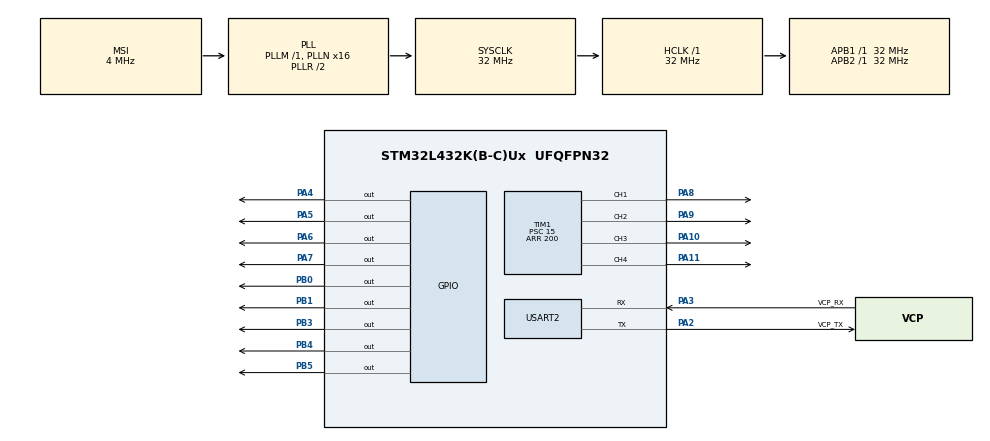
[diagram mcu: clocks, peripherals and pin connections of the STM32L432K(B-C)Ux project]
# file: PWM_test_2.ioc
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Mcu.Family=STM32L4
Mcu.Name=STM32L432K(B-C)Ux
Mcu.Package=UFQFPN32
NVIC.PriorityGroup=NVIC_PRIORITYGROUP_4
NVIC.USART2_IRQn=true\:0\:0\:false\:false\:true\:true
PA0.GPIO_Label=MCO [High speed clock in]
PA0.Mode=HSE-External-Clock-Source-for-LittleOrca
PA0.Signal=RCC_CK_IN
PA10.Signal=S_TIM1_CH3
PA11.Signal=S_TIM1_CH4
PA13\ (JTMS-SWDIO).GPIO_Label=SWDIO
PA13\ (JTMS-SWDIO).Mode=Serial_Wire
PA13\ (JTMS-SWDIO).Signal=SYS_JTMS-SWDIO
PA14\ (JTCK-SWCLK).GPIO_Label=SWCLK
PA14\ (JTCK-SWCLK).Mode=Serial_Wire
PA14\ (JTCK-SWCLK).Signal=SYS_JTCK-SWCLK
PA2.GPIO_Label=VCP_TX
PA2.Mode=Asynchronous
PA2.Signal=USART2_TX
PA3.GPIO_Label=VCP_RX
PA3.Mode=Asynchronous
PA3.Signal=USART2_RX
PA4.Signal=GPIO_Output
PA5.Signal=GPIO_Output
PA6.Signal=GPIO_Output
PA7.Signal=GPIO_Output
PA8.Signal=S_TIM1_CH1
PA9.Signal=S_TIM1_CH2
PB0.Signal=GPIO_Output
PB1.Signal=GPIO_Output
PB3\ (JTDO-TRACESWO).Signal=GPIO_Output
PB4\ (NJTRST).Signal=GPIO_Output
PB5.Signal=GPIO_Output
PC14-OSC32_IN\ (PC14).Mode=LSE-External-Oscillator
PC14-OSC32_IN\ (PC14).Signal=RCC_OSC32_IN
PC15-OSC32_OUT\ (PC15).Mode=LSE-External-Oscillator
PC15-OSC32_OUT\ (PC15).Signal=RCC_OSC32_OUT
ProjectManager.HeapSize=0x200
ProjectManager.StackSize=0x400
ProjectManager.TargetToolchain=SW4STM32
RCC.AHBFreq_Value=32000000
RCC.APB1Freq_Value=32000000
RCC.APB1TimFreq_Value=32000000
RCC.APB2Freq_Value=32000000
RCC.APB2TimFreq_Value=32000000
RCC.CortexFreq_Value=32000000
RCC.HCLKFreq_Value=32000000
RCC.HSE_VALUE=8000000
RCC.HSI16_VALUE=16000000
RCC.HSI48_VALUE=48000000
RCC.HSI_VALUE=16000000
RCC.MSI_VALUE=4000000
RCC.PLLMUL=RCC_PLLMUL_4
RCC.PLLN=16
RCC.SYSCLKFreq_VALUE=32000000
RCC.SYSCLKSource=RCC_SYSCLKSOURCE_PLLCLK
RCC.VCOOutputFreq_Value=64000000
SH.S_TIM1_CH1.0=TIM1_CH1,PWM Generation1 CH1
SH.S_TIM1_CH2.0=TIM1_CH2,PWM Generation2 CH2
SH.S_TIM1_CH3.0=TIM1_CH3,PWM Generation3 CH3
SH.S_TIM1_CH4.0=TIM1_CH4,PWM Generation4 CH4
TIM1.AutoReloadPreload=TIM_AUTORELOAD_PRELOAD_ENABLE
TIM1.Channel-PWM\ Generation1\ CH1=TIM_CHANNEL_1
TIM1.Channel-PWM\ Generation2\ CH2=TIM_CHANNEL_2
TIM1.Channel-PWM\ Generation3\ CH3=TIM_CHANNEL_3
TIM1.Channel-PWM\ Generation4\ CH4=TIM_CHANNEL_4
TIM1.Period=200
TIM1.Prescaler=15
TIM1.Pulse-PWM\ Generation1\ CH1=20
USART2.VirtualMode-Asynchronous=VM_ASYNC
board=NUCLEO-L432KC

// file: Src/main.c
/**
  ******************************************************************************
  * @file           : main.c
  * @brief          : Main program body
  ******************************************************************************
  ** This notice applies to any and all portions of this file
  * that are not between comment pairs USER CODE BEGIN and
  * USER CODE END. Other portions of this file, whether
  * inserted by the user or by software development tools
  * are owned by their respective copyright owners.
  *
  * COPYRIGHT(c) 2019 STMicroelectronics
  *
  * Redistribution and use in source and binary forms, with or without modification,
  * are permitted provided that the following conditions are met:
  *   1. Redistributions of source code must retain the above copyright notice,
  *      this list of conditions and the following disclaimer.
  *   2. Redistributions in binary form must reproduce the above copyright notice,
  *      this list of conditions and the following disclaimer in the documentation
  *      and/or other materials provided with the distribution.
  *   3. Neither the name of STMicroelectronics nor the names of its contributors
  *      may be used to endorse or promote products derived from this software
  *      without specific prior written permission.
  *
  * THIS SOFTWARE IS PROVIDED BY THE COPYRIGHT HOLDERS AND CONTRIBUTORS "AS IS"
  * AND ANY EXPRESS OR IMPLIED WARRANTIES, INCLUDING, BUT NOT LIMITED TO, THE
  * IMPLIED WARRANTIES OF MERCHANTABILITY AND FITNESS FOR A PARTICULAR PURPOSE ARE
  * DISCLAIMED. IN NO EVENT SHALL THE COPYRIGHT HOLDER OR CONTRIBUTORS BE LIABLE
  * FOR ANY DIRECT, INDIRECT, INCIDENTAL, SPECIAL, EXEMPLARY, OR CONSEQUENTIAL
  * DAMAGES (INCLUDING, BUT NOT LIMITED TO, PROCUREMENT OF SUBSTITUTE GOODS OR
  * SERVICES; LOSS OF USE, DATA, OR PROFITS; OR BUSINESS INTERRUPTION) HOWEVER
  * CAUSED AND ON ANY THEORY OF LIABILITY, WHETHER IN CONTRACT, STRICT LIABILITY,
  * OR TORT (INCLUDING NEGLIGENCE OR OTHERWISE) ARISING IN ANY WAY OUT OF THE USE
  * OF THIS SOFTWARE, EVEN IF ADVISED OF THE POSSIBILITY OF SUCH DAMAGE.
  *
  ******************************************************************************
  */
#include "main.h"
#include "stm32l4xx_hal.h"
#include "tim.h"
#include "usart.h"
#include "gpio.h"

/* USER CODE BEGIN Includes */
#include "Dynamixel_Data.h"
#include "AX12A.h"
#include "MX28.h"
#include "Dynamixel_Types.h"
#include "DynamixelProtocolV1_IO.h"
#include "DynamixelProtocolV1.h"
/* USER CODE END Includes */

/* USER CODE BEGIN PV */
#define		WHEEL_DIAMETER   0.1
#define		SPEED 			 1 //rps

enum motor_direction {
    MOTOR_STOP = 0, MOTOR_CLOCKWISE = 1, MOTOR_COUNTERCLOCKWISE = 2
};

uint8_t rx_buf[3];
//rx_buf2 = 0, rx_buf3 = 0;

uint8_t x_case = 0; //0-stop, 1-0.1m/s, 2-0.2m/s, 3-0.3m/s
uint8_t y_case = 0;
uint8_t w_case = 0;

uint8_t w_dir, x_dir, y_dir;
float x_vel;
float y_vel;

uint32_t pwm_value_w = 0;
uint32_t pwm_value_1 = 0;
uint32_t pwm_value_2 = 0;

uint8_t motor1_dir = 0;
uint8_t motor2_dir = 0;
uint8_t motor3_dir = 0;
uint8_t motor4_dir = 0;
uint8_t isStop = 0;

double joint1_angle;
double joint2_angle;

uint8_t joint1_id = 10;
uint8_t joint2_id = 16;

HAL_StatusTypeDef status_b1, status_b2, status_b3;
/* Private variables ---------------------------------------------------------*/
/* USER CODE END PV */

void SystemClock_Config(void);

/* USER CODE BEGIN PFP */
/* Private function prototypes -----------------------------------------------*/
void extractW(uint8_t rx_buf_1);
void extractX(uint8_t rx_buf_1);
void extractY(uint8_t rx_buf_1);

double extractAngle(uint8_t rx_buf);
void joint_horizontal_control(double angle, uint8_t joint_id);
void joint_vertical_control(double angle, uint8_t joint_id);

int convertToInt(char *rx);
//uint32_t get_pwm(float vel);

void driveMotor(uint16_t pwm_value, uint8_t motor_num, uint16_t dir);
void setMotor1Dir();
void setMotor2Dir();
void setMotor3Dir();
void setMotor4Dir();

void move_to_pos();

Dynamixel_HandleTypeDef motorAX_hor;
Dynamixel_HandleTypeDef motorAX_vert;

/* USER CODE END PFP */

int main(void)
{

  /* MCU Configuration----------------------------------------------------------*/

  /* Reset of all peripherals, Initializes the Flash interface and the Systick. */
  HAL_Init();

  /* Configure the system clock */
  SystemClock_Config();

  /* Initialize all configured peripherals */
  MX_GPIO_Init();
  MX_USART2_UART_Init();
  MX_TIM1_Init();

  /* Infinite loop */
  /* USER CODE BEGIN WHILE */
    while (1) {
        int prev = 0;

        do {
            /* while huart2 does not receive commands, in other words
             * while status_b1 is NOT HAL_OK, stay in this DO loop to
             * set motor directions and actuate them(PWM)
             */
            status_b1 = HAL_UART_Receive(&huart2, rx_buf, 3*sizeof(uint8_t), 10);
            //status_b2 = HAL_UART_Receive(&huart2, &rx_buf2, sizeof(uint8_t), 10);
            //status_b3 = HAL_UART_Receive(&huart2, &rx_buf3, sizeof(uint8_t), 10);

            setMotor1Dir();
            setMotor2Dir();
            setMotor3Dir();
            setMotor4Dir();

            if (prev == 0) { //only start pwm when it has been stopped
                HAL_TIM_PWM_Start(&htim1, TIM_CHANNEL_1);
                HAL_TIM_PWM_Start(&htim1, TIM_CHANNEL_2);
                HAL_TIM_PWM_Start(&htim1, TIM_CHANNEL_3);
                HAL_TIM_PWM_Start(&htim1, TIM_CHANNEL_4);
                prev = 1;
            }
        } while (status_b1 != HAL_OK);

        status_b1 = HAL_ERROR; //reset
        status_b2 = HAL_ERROR; //reset
        status_b3 = HAL_ERROR; //reset

        HAL_TIM_PWM_Stop(&htim1, TIM_CHANNEL_1);
        HAL_TIM_PWM_Stop(&htim1, TIM_CHANNEL_2);
        HAL_TIM_PWM_Stop(&htim1, TIM_CHANNEL_3);
        HAL_TIM_PWM_Stop(&htim1, TIM_CHANNEL_4);

        /* 1. Received all pwm inputs from PC. Once outside the do-while loop,
         * the global variable rx_buf has been updated from the PC command  */

        /* 2. Convert the character in the buffer to floats/integers */
        /* Assumed: at max speed, the wheel is turning 1 rev/sec => 6.28*0.05*/
        // Global variables including x_dir, w_dir, y_dir, and pwm's are updated
        extractW(rx_buf[0]);
        extractX(rx_buf[0]);
        extractY(rx_buf[0]);

        /* 3. With the updated globals, set the appropriate speeds(PWM) for
         * all motors using SET_COMPARE function*/
        move_to_pos();

        /*extract second byte*/
        MX_USART2_UART_Init_X(1000000);
        joint1_angle = extractAngle(rx_buf[1]);
        joint_horizontal_control(joint1_angle, joint1_id);

        /*extract third byte*/
        joint2_angle = extractAngle(rx_buf[2]);
        joint_vertical_control(joint2_angle, joint2_id);

        MX_USART2_UART_Init_X(115200);

  /* USER CODE END WHILE */

  /* USER CODE BEGIN 3 */
        //HAL_UART_Transmit(&huart2, rx_buf, 3, 10);
        //HAL_UART_Transmit(&huart2, (unsigned char *) "done", 4, 1000);
        // HAL_Delay(100);
    }

  /* USER CODE END 3 */

}

void SystemClock_Config(void)
{

  RCC_OscInitTypeDef RCC_OscInitStruct;
  RCC_ClkInitTypeDef RCC_ClkInitStruct;
  RCC_PeriphCLKInitTypeDef PeriphClkInit;

    /**Configure LSE Drive Capability
    */
  HAL_PWR_EnableBkUpAccess();

  __HAL_RCC_LSEDRIVE_CONFIG(RCC_LSEDRIVE_LOW);

    /**Initializes the CPU, AHB and APB busses clocks
    */
  RCC_OscInitStruct.OscillatorType = RCC_OSCILLATORTYPE_LSE|RCC_OSCILLATORTYPE_MSI;
  RCC_OscInitStruct.LSEState = RCC_LSE_ON;
  RCC_OscInitStruct.MSIState = RCC_MSI_ON;
  RCC_OscInitStruct.MSICalibrationValue = 0;
  RCC_OscInitStruct.MSIClockRange = RCC_MSIRANGE_6;
  RCC_OscInitStruct.PLL.PLLState = RCC_PLL_ON;
  RCC_OscInitStruct.PLL.PLLSource = RCC_PLLSOURCE_MSI;
  RCC_OscInitStruct.PLL.PLLM = 1;
  RCC_OscInitStruct.PLL.PLLN = 16;
  RCC_OscInitStruct.PLL.PLLP = RCC_PLLP_DIV7;
  RCC_OscInitStruct.PLL.PLLQ = RCC_PLLQ_DIV2;
  RCC_OscInitStruct.PLL.PLLR = RCC_PLLR_DIV2;
  if (HAL_RCC_OscConfig(&RCC_OscInitStruct) != HAL_OK)
  {
    _Error_Handler(__FILE__, __LINE__);
  }

    /**Initializes the CPU, AHB and APB busses clocks
    */
  RCC_ClkInitStruct.ClockType = RCC_CLOCKTYPE_HCLK|RCC_CLOCKTYPE_SYSCLK
                              |RCC_CLOCKTYPE_PCLK1|RCC_CLOCKTYPE_PCLK2;
  RCC_ClkInitStruct.SYSCLKSource = RCC_SYSCLKSOURCE_PLLCLK;
  RCC_ClkInitStruct.AHBCLKDivider = RCC_SYSCLK_DIV1;
  RCC_ClkInitStruct.APB1CLKDivider = RCC_HCLK_DIV1;
  RCC_ClkInitStruct.APB2CLKDivider = RCC_HCLK_DIV1;

  if (HAL_RCC_ClockConfig(&RCC_ClkInitStruct, FLASH_LATENCY_1) != HAL_OK)
  {
    _Error_Handler(__FILE__, __LINE__);
  }

  PeriphClkInit.PeriphClockSelection = RCC_PERIPHCLK_USART2;
  PeriphClkInit.Usart2ClockSelection = RCC_USART2CLKSOURCE_PCLK1;
  if (HAL_RCCEx_PeriphCLKConfig(&PeriphClkInit) != HAL_OK)
  {
    _Error_Handler(__FILE__, __LINE__);
  }

    /**Configure the main internal regulator output voltage
    */
  if (HAL_PWREx_ControlVoltageScaling(PWR_REGULATOR_VOLTAGE_SCALE1) != HAL_OK)
  {
    _Error_Handler(__FILE__, __LINE__);
  }

    /**Configure the Systick interrupt time
    */
  HAL_SYSTICK_Config(HAL_RCC_GetHCLKFreq()/1000);

    /**Configure the Systick
    */
  HAL_SYSTICK_CLKSourceConfig(SYSTICK_CLKSOURCE_HCLK);

    /**Enable MSI Auto calibration
    */
  HAL_RCCEx_EnableMSIPLLMode();

  /* SysTick_IRQn interrupt configuration */
  HAL_NVIC_SetPriority(SysTick_IRQn, 0, 0);
}

/* USER CODE BEGIN 4 */
void extractW(uint8_t rx_buf) {
    //SIGN 1/0 _ _ _ _ _ _
    //updates 0b_ _ , first element being 1(CW) or 0(CCW), and second element being 1(turn) or 0(stop)
    uint8_t w_case = rx_buf >> 6;
    switch (w_case) {
    case 1: //0b01: CCW, rotate
        w_dir = 2;
        pwm_value_w = 150;
        break;
    case 3: //0b11: CW, rotate
        w_dir = 1;
        pwm_value_w = 150;
        break;
    default:
        w_dir = 0;
        pwm_value_w = 0;
        break;
    }
}

void extractX(uint8_t rx_buf) {
    //_ _ SIGN X1 X2 _ _ _
    //updates 0b_ _ _,first element being 1(CW) or 0(CCW), and second/third element being the
    uint8_t x_case = (rx_buf >> 3) & 0b00000111;
    switch (x_case) {
    case 1: //0b001: -dir, 0.1m/s
        x_dir = 2;
        pwm_value_1 = 130;
        break;
    case 2: //0b010: -dir, 0.2m/s
        x_dir = 2;
        pwm_value_1 = 160;
        break;
    case 3: //0b011: -dir, 0.3m/s
        x_dir = 2;
        pwm_value_1 = 200;
        break;
    case 5: //0b101: +dir, 0.1m/s
        x_dir = 1;
        pwm_value_1 = 130;
        break;
    case 6: //0b110: +dir, 0.2m/s
        x_dir = 1;
        pwm_value_1 = 160;
        break;
    case 7: //0b111: +dir, 0.3m/s
        x_dir = 1;
        pwm_value_1 = 200;
        break;
    default:
        pwm_value_1 = 0;
        x_dir = 0;
        break;
    }
}

void extractY(uint8_t rx_buf) {
    //_ _ _ _ _ SIGN Y1 Y2
    uint8_t y_case = rx_buf & 0b00000111;
    switch (y_case) {
    case 1: //0b001: -dir, 0.1m/s
        y_dir = 2;
        pwm_value_2 = 130;
        break;
    case 2: //0b010: -dir, 0.2m/s
        y_dir = 2;
        pwm_value_2 = 160;
        break;
    case 3: //0b011: -dir, 0.3m/s
        y_dir = 2;
        pwm_value_2 = 200;
        break;
    case 5: //0b101: +dir, 0.1m/s
        y_dir = 1;
        pwm_value_2 = 130;
        break;
    case 6: //0b110: +dir, 0.2m/s
        y_dir = 1;
        pwm_value_2 = 160;
        break;
    case 7: //0b111: +dir, 0.3m/s
        y_dir = 1;
        pwm_value_2 = 200;
        break;
    default:
        y_dir = 0;
        pwm_value_2 = 0;
        break;
    }
}

int convertToInt(char *rx) {
    uint8_t hund = rx[0] - '0';
    uint8_t ten = rx[1] - '0';
    uint8_t one = rx[2] - '0';
    int res = hund * 100 + ten * 10 + one;
    return res;
}

/*uint32_t get_pwm(float vel) {
 float abs_vel = vel;
 if (vel < 0) {
 abs_vel = -vel;
 }

 float rps = abs_vel / (WHEEL_DIAMETER * 3.1416);
 uint32_t pwm_value = 130 + (rps / SPEED) * 70;
 return pwm_value;
 }*/

void move_to_pos() {
    if (w_dir == 1) { //CW
        driveMotor(pwm_value_w, 1, MOTOR_COUNTERCLOCKWISE);
        driveMotor(pwm_value_w, 2, MOTOR_COUNTERCLOCKWISE);
        driveMotor(pwm_value_w, 3, MOTOR_COUNTERCLOCKWISE);
        driveMotor(pwm_value_w, 4, MOTOR_COUNTERCLOCKWISE);
    } else if (w_dir == 2) { //CCW
        driveMotor(pwm_value_w, 1, MOTOR_CLOCKWISE);
        driveMotor(pwm_value_w, 2, MOTOR_CLOCKWISE);
        driveMotor(pwm_value_w, 3, MOTOR_CLOCKWISE);
        driveMotor(pwm_value_w, 4, MOTOR_CLOCKWISE);
    } else if (y_dir == 1) {
        driveMotor(pwm_value_2, 1, MOTOR_STOP);
        driveMotor(pwm_value_2, 2, MOTOR_COUNTERCLOCKWISE);
        driveMotor(pwm_value_2, 3, MOTOR_STOP);
        driveMotor(pwm_value_2, 4, MOTOR_CLOCKWISE);
    } else if (y_dir == 2) {
        driveMotor(pwm_value_2, 1, MOTOR_STOP);
        driveMotor(pwm_value_2, 2, MOTOR_CLOCKWISE);
        driveMotor(pwm_value_2, 3, MOTOR_STOP);
        driveMotor(pwm_value_2, 4, MOTOR_COUNTERCLOCKWISE);
    } else if (x_dir == 1) {
        driveMotor(pwm_value_1, 1, MOTOR_COUNTERCLOCKWISE);
        driveMotor(pwm_value_1, 2, MOTOR_STOP);
        driveMotor(pwm_value_1, 3, MOTOR_CLOCKWISE);
        driveMotor(pwm_value_1, 4, MOTOR_STOP);
    } else if (x_dir == 2) {
        driveMotor(pwm_value_1, 1, MOTOR_CLOCKWISE);
        driveMotor(pwm_value_1, 2, MOTOR_STOP);
        driveMotor(pwm_value_1, 3, MOTOR_COUNTERCLOCKWISE);
        driveMotor(pwm_value_1, 4, MOTOR_STOP);
    }
    else {
        driveMotor(pwm_value_w, 1, MOTOR_STOP);
        driveMotor(pwm_value_w, 2, MOTOR_STOP);
        driveMotor(pwm_value_w, 3, MOTOR_STOP);
        driveMotor(pwm_value_w, 4, MOTOR_STOP);
    }
    return;
}

/* setMotor1Dir() takes in the global variable motor1_dir
 * to set or reset two specific output pins to control
 * the direction of motor 1*/
void setMotor1Dir() {
    switch (motor1_dir) {
    case MOTOR_CLOCKWISE:
        HAL_GPIO_WritePin(GPIOB, GPIO_PIN_1, GPIO_PIN_SET);
        HAL_GPIO_WritePin(GPIOB, GPIO_PIN_0, GPIO_PIN_RESET);
        break;
    case MOTOR_COUNTERCLOCKWISE:
        HAL_GPIO_WritePin(GPIOB, GPIO_PIN_1, GPIO_PIN_RESET);
        HAL_GPIO_WritePin(GPIOB, GPIO_PIN_0, GPIO_PIN_SET);
        break;
    case MOTOR_STOP:
        HAL_GPIO_WritePin(GPIOB, GPIO_PIN_1, GPIO_PIN_RESET);
        HAL_GPIO_WritePin(GPIOB, GPIO_PIN_0, GPIO_PIN_RESET);
        break;
    default:
        break;
    }
}

void setMotor2Dir() {
    switch (motor2_dir) {
    case MOTOR_CLOCKWISE:
        HAL_GPIO_WritePin(GPIOA, GPIO_PIN_7, GPIO_PIN_SET);
        HAL_GPIO_WritePin(GPIOA, GPIO_PIN_6, GPIO_PIN_RESET);
        break;
    case MOTOR_COUNTERCLOCKWISE:
        HAL_GPIO_WritePin(GPIOA, GPIO_PIN_7, GPIO_PIN_RESET);
        HAL_GPIO_WritePin(GPIOA, GPIO_PIN_6, GPIO_PIN_SET);
        break;
    case MOTOR_STOP:
        HAL_GPIO_WritePin(GPIOA, GPIO_PIN_7, GPIO_PIN_RESET);
        HAL_GPIO_WritePin(GPIOA, GPIO_PIN_6, GPIO_PIN_RESET);
        break;
    default:
        break;
    }
}

void setMotor3Dir() {
    switch (motor3_dir) {
    case MOTOR_CLOCKWISE:
        HAL_GPIO_WritePin(GPIOA, GPIO_PIN_4, GPIO_PIN_SET);
        HAL_GPIO_WritePin(GPIOA, GPIO_PIN_5, GPIO_PIN_RESET);
        break;
    case MOTOR_COUNTERCLOCKWISE:
        HAL_GPIO_WritePin(GPIOA, GPIO_PIN_4, GPIO_PIN_RESET);
        HAL_GPIO_WritePin(GPIOA, GPIO_PIN_5, GPIO_PIN_SET);
        break;
    case MOTOR_STOP:
        HAL_GPIO_WritePin(GPIOA, GPIO_PIN_4, GPIO_PIN_RESET);
        HAL_GPIO_WritePin(GPIOA, GPIO_PIN_5, GPIO_PIN_RESET);
    }
}

void setMotor4Dir() {
    switch (motor4_dir) {
    case MOTOR_CLOCKWISE:
        HAL_GPIO_WritePin(GPIOB, GPIO_PIN_5, GPIO_PIN_SET);
        HAL_GPIO_WritePin(GPIOB, GPIO_PIN_4, GPIO_PIN_RESET);
        break;
    case MOTOR_COUNTERCLOCKWISE:
        HAL_GPIO_WritePin(GPIOB, GPIO_PIN_5, GPIO_PIN_RESET);
        HAL_GPIO_WritePin(GPIOB, GPIO_PIN_4, GPIO_PIN_SET);
        break;
    case MOTOR_STOP:
        HAL_GPIO_WritePin(GPIOB, GPIO_PIN_5, GPIO_PIN_RESET);
        HAL_GPIO_WritePin(GPIOB, GPIO_PIN_4, GPIO_PIN_RESET);
        break;
    default:
        break;
    }
}

void driveMotor(uint16_t pwm_value, uint8_t motor_num, uint16_t dir) {
//Set PWM values and Motor Directions
    switch (motor_num) {
    case 1:
        motor1_dir = dir;
        __HAL_TIM_SetCompare(&htim1, TIM_CHANNEL_1, pwm_value);
        break;
    case 2:
        motor2_dir = dir;
        __HAL_TIM_SetCompare(&htim1, TIM_CHANNEL_2, pwm_value);
        break;
    case 3:
        motor3_dir = dir;
        __HAL_TIM_SetCompare(&htim1, TIM_CHANNEL_3, pwm_value);
        break;
    case 4:
        motor4_dir = dir;
        __HAL_TIM_SetCompare(&htim1, TIM_CHANNEL_4, pwm_value);
        break;
    default:
        break;
    }
}

double extractAngle(uint8_t rx_buf){
	double angle = ((double)rx_buf/(double)255.00)*(double)240.00;
	return angle;

}

void joint_horizontal_control(double angle, uint8_t joint_id){ //joint_id = 10
	//MX_USART2_UART_Init();
	Dynamixel_Init(&motorAX_hor, joint_id, &huart2, Motor_GPIO_Port,
				Motor1_Pin, AX12ATYPE);
	Dynamixel_SetGoalPosition(&motorAX_hor, angle);
}

void joint_vertical_control(double angle, uint8_t joint_id){ //joint_id = 16
    Dynamixel_Init(&motorAX_vert, joint_id, &huart2, Motor_GPIO_Port,
                    Motor2_Pin, AX12ATYPE);
    Dynamixel_SetGoalPosition(&motorAX_vert, angle);
}

//int get_pwm_speed(uint8_t speed){
//	uint8_t rpm = speed/(WHEEL_DIAMETER *)
//}
/* USER CODE END 4 */

void _Error_Handler(char *file, int line)
{
    while (1) {
    }
}

/************************ (C) COPYRIGHT STMicroelectronics *****END OF FILE****/
